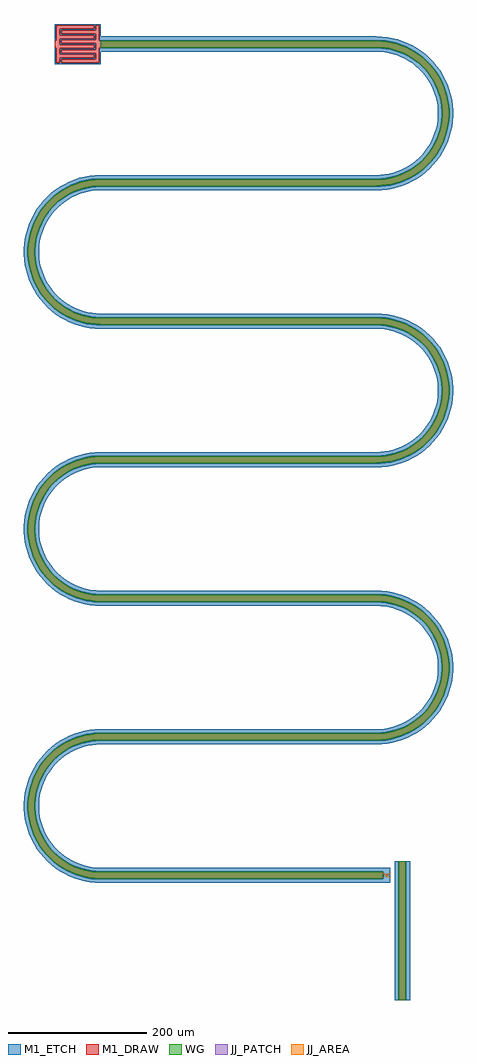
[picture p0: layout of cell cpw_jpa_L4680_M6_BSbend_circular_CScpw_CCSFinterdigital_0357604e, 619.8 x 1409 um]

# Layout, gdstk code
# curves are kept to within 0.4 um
from math import pi, radians
import gdstk
lib = gdstk.Library(unit=1e-6, precision=1e-09)
def R(c, l, rs):  # rectangles x0, y0, x1, y1
    for r in rs: c.add(gdstk.rectangle(r[:2], r[2:], *l))
def P(c, l, *ps):  # polygons
    for p in ps: c.add(gdstk.Polygon(p, *l))
M1_DRAW = (1, 0)
M1_ETCH = (1, 1)
JJ_AREA = (20, 0)
JJ_PATCH = (20, 1)
WG = (102, 0)

interdigital_capacitor_f = lib.new_cell('interdigital_capacitor_F8_FL50_FG2_T5_LMM1_DRAW_ELM1_ET_c620e4c8')
P(interdigital_capacitor_f, M1_DRAW, [(-31,-27),(-31,-5),(-33,-5),(-33,5),(-31,5),(-31,27),(24,27),(24,22),(-26,22),(-26,13),(24,13),(24,8),(-26,8),(-26,-1),(24,-1),(24,-6),(-26,-6),(-26,-15),(24,-15),(24,-20),(-26,-20),(-26,-27)],
  [(-24,-27),(-24,-22),(26,-22),(26,-13),(-24,-13),(-24,-8),(26,-8),(26,1),(-24,1),(-24,6),(26,6),(26,15),(-24,15),(-24,20),(26,20),(26,27),(31,27),(31,5),(33,5),(33,-5),(31,-5),(31,-27)])
P(interdigital_capacitor_f, M1_ETCH, [(-33,-29),(-33,-5),(-31,-5),(-31,-27),(-26,-27),(-26,-20),(24,-20),(24,-15),(-26,-15),(-26,-6),(24,-6),(24,-1),(-26,-1),(-26,8),(24,8),(24,13),(-26,13),(-26,22),(24,22),(24,27),(-31,27),(-31,5),(-33,5),(-33,29),(33,29),(33,5),(31,5),(31,27),(26,27),(26,20),(-24,20),(-24,15),(26,15),(26,6),(-24,6),(-24,1),(26,1),(26,-8),(-24,-8),(-24,-13),(26,-13),(26,-22),(-24,-22),(-24,-27),(31,-27),(31,-5),(33,-5),(33,-29)])

straight_l397p9185714285 = lib.new_cell('straight_L397p9185714285714_CScoplanar_waveguide_N2')
R(straight_l397p9185714285, M1_DRAW, [(0,-5,397.919,5)])
R(straight_l397p9185714285, M1_ETCH, [(0,-11,397.919,-5), (0,5,397.919,11)])
R(straight_l397p9185714285, WG, [(0,-5,397.919,5)])

bend_circular_a180_r100_ = lib.new_cell('bend_circular_A180_R100_NNone_CScoplanar_waveguide_AMRVTrue_AS4')
P(bend_circular_a180_r100_, M1_DRAW, [(0,-5),(0,5),(13.221,5.928),(19.751,7.079),(26.185,8.683),(38.639,13.216),(50.341,19.438),(55.838,23.146),(61.063,27.228),(70.596,36.435),(78.756,46.878),(85.383,58.356),(88.08,64.414),(92.175,77.018),(93.554,83.504),(94.939,96.685),(94.477,109.93),(93.554,116.496),(92.175,122.982),(88.08,135.586),(85.383,141.644),(78.756,153.122),(70.596,163.565),(61.063,172.772),(55.838,176.854),(50.341,180.562),(38.639,186.784),(26.185,191.317),(19.751,192.921),(13.221,194.072),(0,195),(0,205),(14.614,203.981),(28.943,200.935),(35.913,198.671),(42.709,195.925),(55.643,189.048),(67.495,180.437),(72.941,175.533),(82.744,164.646),(87.051,158.717),(90.935,152.502),(97.357,139.335),(99.864,132.448),(103.408,118.234),(104.939,103.665),(104.428,89.024),(103.408,81.766),(99.864,67.552),(97.357,60.665),(90.935,47.498),(87.051,41.283),(82.744,35.354),(72.941,24.467),(67.495,19.563),(55.643,10.952),(42.709,4.075),(35.913,1.329),(28.943,-0.935),(14.614,-3.981)])
P(bend_circular_a180_r100_, M1_ETCH, [(0,-11),(0,-5),(14.614,-3.981),(28.943,-0.935),(35.913,1.329),(42.709,4.075),(55.643,10.952),(67.495,19.563),(72.941,24.467),(82.744,35.354),(87.051,41.283),(90.935,47.498),(97.357,60.665),(99.864,67.552),(103.408,81.766),(104.939,96.335),(104.428,110.976),(103.408,118.234),(99.864,132.448),(97.357,139.335),(90.935,152.502),(82.744,164.646),(78.032,170.261),(67.495,180.437),(55.643,189.048),(49.296,192.712),(35.913,198.671),(21.831,202.708),(7.325,204.747),(0,205),(0,211),(15.449,209.926),(23.08,208.581),(37.967,204.312),(45.15,201.41),(58.825,194.139),(71.354,185.036),(77.112,179.852),(87.474,168.343),(92.029,162.074),(96.135,155.503),(102.924,141.584),(105.574,134.303),(109.32,119.276),(110.939,103.874),(110.399,88.397),(109.32,80.724),(105.574,65.697),(102.924,58.416),(96.135,44.497),(92.029,37.926),(87.474,31.657),(77.112,20.148),(71.354,14.964),(58.825,5.861),(45.15,-1.41),(37.967,-4.312),(23.08,-8.581),(15.449,-9.926)],
  [(0,5),(0,11),(12.385,11.873),(18.503,12.951),(24.53,14.454),(36.197,18.701),(47.159,24.529),(57.204,31.827),(61.82,35.984),(70.128,45.21),(73.779,50.236),(79.987,60.988),(84.638,72.5),(86.35,78.471),(88.506,90.698),(88.939,96.894),(88.506,109.302),(86.35,121.529),(84.638,127.5),(79.987,139.012),(77.07,144.497),(70.128,154.79),(66.135,159.548),(57.204,168.173),(52.309,171.997),(47.159,175.471),(36.197,181.299),(24.53,185.546),(18.503,187.049),(12.385,188.127),(0,189),(0,195),(13.221,194.072),(19.751,192.921),(26.185,191.317),(38.639,186.784),(50.341,180.562),(61.063,172.772),(65.99,168.335),(74.859,158.486),(78.756,153.122),(85.383,141.644),(88.08,135.586),(92.175,122.982),(94.477,109.93),(94.939,103.315),(94.477,90.07),(93.554,83.504),(92.175,77.018),(88.08,64.414),(85.383,58.356),(78.756,46.878),(74.859,41.514),(65.99,31.665),(61.063,27.228),(50.341,19.438),(38.639,13.216),(26.185,8.683),(19.751,7.079),(13.221,5.928)])
P(bend_circular_a180_r100_, WG, [(0,-5),(0,5),(13.221,5.928),(19.751,7.079),(26.185,8.683),(38.639,13.216),(50.341,19.438),(55.838,23.146),(61.063,27.228),(70.596,36.435),(78.756,46.878),(85.383,58.356),(88.08,64.414),(92.175,77.018),(93.554,83.504),(94.939,96.685),(94.477,109.93),(93.554,116.496),(92.175,122.982),(88.08,135.586),(85.383,141.644),(78.756,153.122),(70.596,163.565),(61.063,172.772),(55.838,176.854),(50.341,180.562),(38.639,186.784),(26.185,191.317),(19.751,192.921),(13.221,194.072),(0,195),(0,205),(14.614,203.981),(28.943,200.935),(35.913,198.671),(42.709,195.925),(55.643,189.048),(67.495,180.437),(72.941,175.533),(82.744,164.646),(87.051,158.717),(90.935,152.502),(97.357,139.335),(99.864,132.448),(103.408,118.234),(104.939,103.665),(104.428,89.024),(103.408,81.766),(99.864,67.552),(97.357,60.665),(90.935,47.498),(87.051,41.283),(82.744,35.354),(72.941,24.467),(67.495,19.563),(55.643,10.952),(42.709,4.075),(35.913,1.329),(28.943,-0.935),(14.614,-3.981)])

resonator_l4670_m6_bsben = lib.new_cell('resonator_L4670_M6_BSbend_circular_CScpw_SWBFalse_EWBFa_8cbb0e70')
resonator_l4670_m6_bsben.add(gdstk.Reference(straight_l397p9185714285, (0,0)))
resonator_l4670_m6_bsben.add(gdstk.Reference(bend_circular_a180_r100_, (397.919,0), x_reflection=True))
resonator_l4670_m6_bsben.add(gdstk.Reference(straight_l397p9185714285, (397.919,-200), rotation=pi))
resonator_l4670_m6_bsben.add(gdstk.Reference(bend_circular_a180_r100_, (0,-200), rotation=pi))
resonator_l4670_m6_bsben.add(gdstk.Reference(straight_l397p9185714285, (0,-400)))
resonator_l4670_m6_bsben.add(gdstk.Reference(bend_circular_a180_r100_, (397.919,-400), x_reflection=True))
resonator_l4670_m6_bsben.add(gdstk.Reference(straight_l397p9185714285, (397.919,-600), rotation=pi))
resonator_l4670_m6_bsben.add(gdstk.Reference(bend_circular_a180_r100_, (0,-600), rotation=pi))
resonator_l4670_m6_bsben.add(gdstk.Reference(straight_l397p9185714285, (0,-800)))
resonator_l4670_m6_bsben.add(gdstk.Reference(bend_circular_a180_r100_, (397.919,-800), x_reflection=True))
resonator_l4670_m6_bsben.add(gdstk.Reference(straight_l397p9185714285, (397.919,-1000), rotation=pi))
resonator_l4670_m6_bsben.add(gdstk.Reference(bend_circular_a180_r100_, (0,-1000), rotation=pi))
resonator_l4670_m6_bsben.add(gdstk.Reference(straight_l397p9185714285, (0,-1200)))

straight_l10_cscpw_n2 = lib.new_cell('straight_L10_CScpw_N2')
R(straight_l10_cscpw_n2, M1_DRAW, [(0,-5,10,5)])
R(straight_l10_cscpw_n2, M1_ETCH, [(0,-11,10,-5), (0,5,10,11)])
R(straight_l10_cscpw_n2, WG, [(0,-5,10,5)])

straight_l4_csjosephson_ = lib.new_cell('straight_L4_CSjosephson_junction_cross_section_wide_N2')
R(straight_l4_csjosephson_, JJ_AREA, [(0,-0.1,4,0.1)])

taper_cross_section_gdsf = lib.new_cell('taper_cross_section_gdsfactorypcomponentsptapersptaper__1178b345')
P(taper_cross_section_gdsf, JJ_AREA, [(0,-0.1),(0,0.1),(4,0.045),(4,-0.045)])

straight_l0p5_csjosephso = lib.new_cell('straight_L0p5_CSjosephson_junction_cross_section_narrow_N2')
R(straight_l0p5_csjosephso, JJ_AREA, [(0,-0.045,0.5,0.045)])

rectangle_gdsfactorypcom = lib.new_cell('rectangle_gdsfactorypcomponentspshapesprectangle_S1p5_1_4f32cade')
R(rectangle_gdsfactorypcom, JJ_PATCH, [(-0.75,-0.5,0.75,0.5)])

single_josephson_junctio = lib.new_cell('single_josephson_junction_wire_WSL4_NSL0p5_TL4_CSWjosep_de02b853')
single_josephson_junctio.add(gdstk.Reference(straight_l4_csjosephson_, (0,0)))
single_josephson_junctio.add(gdstk.Reference(taper_cross_section_gdsf, (4,0)))
single_josephson_junctio.add(gdstk.Reference(straight_l0p5_csjosephso, (8,0)))
single_josephson_junctio.add(gdstk.Reference(rectangle_gdsfactorypcom, (-0.375,0)))

josephson_junction_jod1p = lib.new_cell('josephson_junction_JOD1p8_WSL4_NSL0p5_TL4_CSWjosephson__0ce5f586')
josephson_junction_jod1p.add(gdstk.Reference(single_josephson_junctio, (8.5,-6.7), rotation=pi/2))
josephson_junction_jod1p.add(gdstk.Reference(single_josephson_junctio, (1.8,0)))

squid_junction_jsfjoseph = lib.new_cell('squid_junction_JSFjosephson_junction_Mqpdkpcellspjuncti_ae4fe4db')
squid_junction_jsfjoseph.add(gdstk.Reference(josephson_junction_jod1p, (0,0)))
squid_junction_jsfjoseph.add(gdstk.Reference(josephson_junction_jod1p, (15,-2), rotation=pi))

c_rectangle_gdsfactorypcom = lib.new_cell('rectangle_gdsfactorypcomponentspshapesprectangle_S10p00_77eda7ea')
R(c_rectangle_gdsfactorypcom, M1_ETCH, [(0,0,10.006,22)])

squid_termination_l10_cs = lib.new_cell('squid_termination_L10_CScpw_JSFsquid_junction_Mqpdkpcel_85f42d31')
squid_termination_l10_cs.add(gdstk.Reference(straight_l10_cscpw_n2, (0,0)))
squid_termination_l10_cs.add(gdstk.Reference(squid_junction_jsfjoseph, (8.992,-4.596), rotation=radians(45)))
squid_termination_l10_cs.add(gdstk.Reference(c_rectangle_gdsfactorypcom, (10,-11)))

straight_l200_cscpw_n2 = lib.new_cell('straight_L200_CScpw_N2')
R(straight_l200_cscpw_n2, M1_DRAW, [(0,-5,200,5)])
R(straight_l200_cscpw_n2, M1_ETCH, [(0,-11,200,-5), (0,5,200,11)])
R(straight_l200_cscpw_n2, WG, [(0,-5,200,5)])

straight_shorted_l200_cs = lib.new_cell('straight_shorted_L200_CScpw_N2')
straight_shorted_l200_cs.add(gdstk.Reference(straight_l200_cscpw_n2, (0,0)))

cpw_jpa_l4680_m6_bsbend_ = lib.new_cell('cpw_jpa_L4680_M6_BSbend_circular_CScpw_CCSFinterdigital_0357604e')
cpw_jpa_l4680_m6_bsbend_.add(gdstk.Reference(interdigital_capacitor_f, (0,0)))
cpw_jpa_l4680_m6_bsbend_.add(gdstk.Reference(resonator_l4670_m6_bsben, (33,0)))
cpw_jpa_l4680_m6_bsbend_.add(gdstk.Reference(squid_termination_l10_cs, (430.919,-1200)))
cpw_jpa_l4680_m6_bsbend_.add(gdstk.Reference(straight_shorted_l200_cs, (468.573,-1380), rotation=pi/2))

lib.write_gds('cpw_jpa_L4680_M6_BSbend_circular_CScpw_CCSFinterdigital_0357604e.gds')
